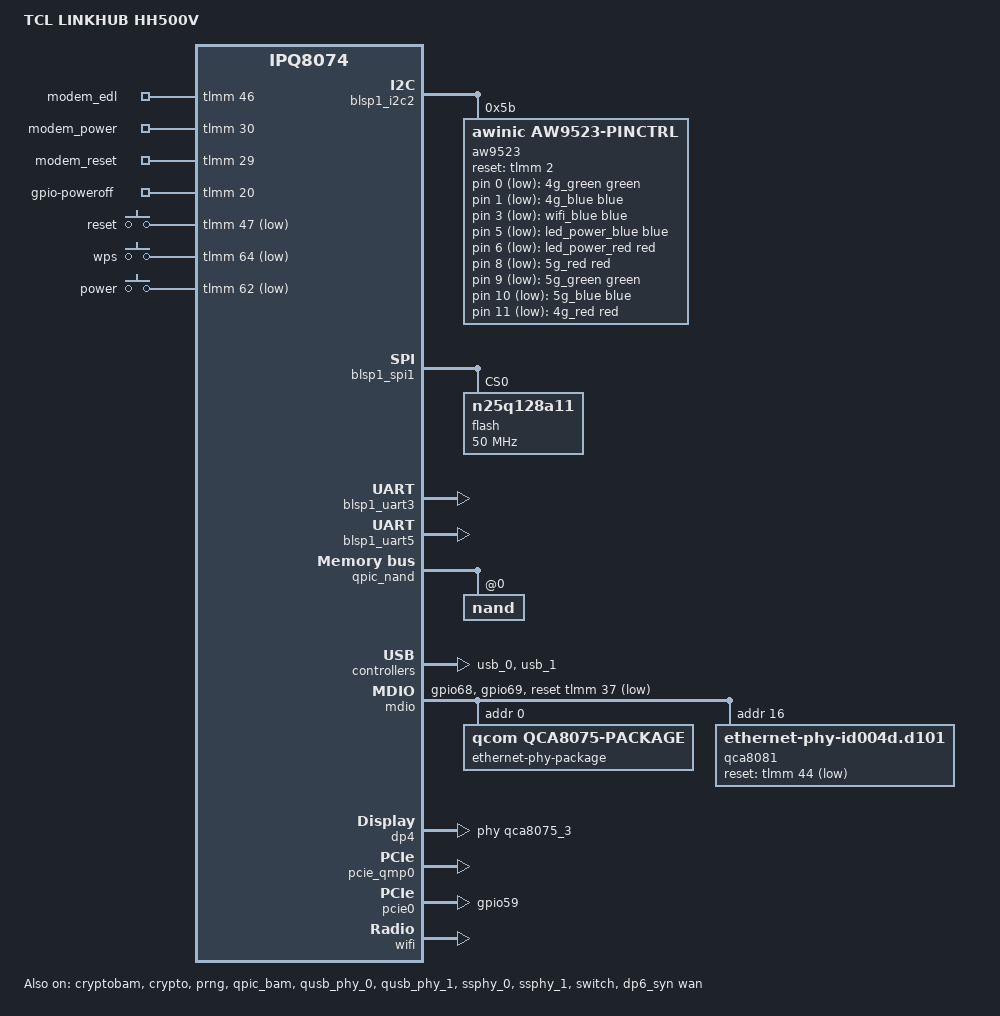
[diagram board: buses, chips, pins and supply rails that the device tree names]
// SPDX-License-Identifier: GPL-2.0-or-later OR MIT

/dts-v1/;

#include "ipq8074.dtsi"
#include "ipq8074-hk-cpu.dtsi"
#include "ipq8074-ess.dtsi"
#include <dt-bindings/gpio/gpio.h>
#include <dt-bindings/input/input.h>
#include <dt-bindings/leds/common.h>

/ {
	model = "TCL LINKHUB HH500V";
	compatible = "tcl,hh500v", "qcom,ipq8074";

	aliases {
		led-boot = &led_power_blue;
		led-failsafe = &led_power_red;
		led-running = &led_power_blue;
		led-upgrade = &led_power_red;
		serial0 = &blsp1_uart5;
		serial1 = &blsp1_uart3;
		ethernet3 = &dp4;
		ethernet5 = &dp6_syn;
	};

	chosen {
		stdout-path = "serial0:115200n8";
		bootargs-append = " root=/dev/ubiblock0_1";
	};

	modem {
		compatible = "gpio-export";
		pinctrl-names = "default";
		pinctrl-0 = <&modem_pins>;

		/* output low = download mode */
		modem-edl {
			gpio-export,name = "modem_edl";
			gpio-export,output = <1>;
			gpios = <&tlmm 46 GPIO_ACTIVE_HIGH>;
		};

		/* output high = power on, output low = no power on after reset */
		modem-power {
			gpio-export,name = "modem_power";
			gpio-export,output = <1>;
			gpios = <&tlmm 30 GPIO_ACTIVE_HIGH>;
		};

		/* output low 5s pulse = reset */
		modem-reset {
			gpio-export,name = "modem_reset";
			gpio-export,output = <1>;
			gpios = <&tlmm 29 GPIO_ACTIVE_HIGH>;
		};
	};

	gpio-poweroff {
		compatible = "gpio-poweroff";
		gpios = <&tlmm 20 GPIO_ACTIVE_HIGH>;
	};

	keys {
		compatible = "gpio-keys";
		pinctrl-0 = <&button_pins>;
		pinctrl-names = "default";

		reset {
			label = "reset";
			linux,code = <KEY_RESTART>;
			gpios = <&tlmm 47 GPIO_ACTIVE_LOW>;
		};

		wps {
			label = "wps";
			linux,code = <KEY_WPS_BUTTON>;
			gpios = <&tlmm 64 GPIO_ACTIVE_LOW>;
		};

		power {
			label = "power";
			gpios = <&tlmm 62 GPIO_ACTIVE_LOW>;
			linux,code = <KEY_POWER>;
		};
	};

	leds {
		compatible = "gpio-leds";
		pinctrl-names = "default";
		pinctrl-0 = <&led_pins>;

		4g_green {
			color = <LED_COLOR_ID_GREEN>;
			function = "4g";
			gpios = <&aw9523 0 GPIO_ACTIVE_LOW>;
		};

		4g_blue {
			color = <LED_COLOR_ID_BLUE>;
			function = "4g";
			gpios = <&aw9523 1 GPIO_ACTIVE_LOW>;
		};

		wifi_blue {
			color = <LED_COLOR_ID_BLUE>;
			function = LED_FUNCTION_WLAN;
			gpios = <&aw9523 3 GPIO_ACTIVE_LOW>;
		};

		led_power_blue: power_blue {
			color = <LED_COLOR_ID_BLUE>;
			function = LED_FUNCTION_POWER;
			gpios = <&aw9523 5 GPIO_ACTIVE_LOW>;
		};

		led_power_red: power_red {
			color = <LED_COLOR_ID_RED>;
			function = LED_FUNCTION_POWER;
			gpios = <&aw9523 6 GPIO_ACTIVE_LOW>;
		};

		5g_red {
			color = <LED_COLOR_ID_RED>;
			function = "5g";
			gpios = <&aw9523 8 GPIO_ACTIVE_LOW>;
		};

		5g_green {
			color = <LED_COLOR_ID_GREEN>;
			function = "5g";
			gpios = <&aw9523 9 GPIO_ACTIVE_LOW>;
		};

		5g_blue {
			color = <LED_COLOR_ID_BLUE>;
			function = "5g";
			gpios = <&aw9523 10 GPIO_ACTIVE_LOW>;
		};

		4g_red {
			color = <LED_COLOR_ID_RED>;
			function = "4g";
			gpios = <&aw9523 11 GPIO_ACTIVE_LOW>;
		};
	};
};

&tlmm {
	mdio_pins: mdio-pins {
		mdc {
			pins = "gpio68";
			function = "mdc";
			drive-strength = <8>;
			bias-pull-up;
		};

		mdio {
			pins = "gpio69";
			function = "mdio";
			drive-strength = <8>;
			bias-pull-up;
		};
	};

	button_pins: button-pins {
		bias-pull-up;
		drive-strength = <8>;
		function = "gpio";
		pins = "gpio47", "gpio62", "gpio64";
	};

	hsuart_pins: hsuart-state {
		pins = "gpio48", "gpio49";
	};

	modem_pins: modem-pins {
		modem_power_on {
			bias-pull-up;
			drive-strength = <8>;
			output-high;
			pins = "gpio30";
		};

		modem_reset {
			drive-strength = <8>;
			output-high;
			pins = "gpio29";
		};

		modem_edl {
			output-high;
			pins = "gpio46";
		};
	};

	pcie0_default_state: pcie0_wake_gpio {
			bias-pull-up;
			drive-strength = <8>;
			function = "pcie0_wake";
			pins = "gpio59";
	};
};

&blsp1_i2c2 {
	status = "okay";

	aw9523: gpio-expander@5b {
		compatible = "awinic,aw9523-pinctrl";
		reg = <0x5b>;
		gpio-controller;
		#gpio-cells = <2>;
		gpio-ranges = <&aw9523 0 0 16>;
		reset-gpios = <&tlmm 2 GPIO_ACTIVE_HIGH>;

		led_pins: led-pins {
			pins =
				"gpio0", "gpio1", "gpio3", "gpio5", "gpio6",
				"gpio8", "gpio9", "gpio10", "gpio11";
			function = "gpio";
			input-disable;
			output-low;
		};
	};
};

&blsp1_spi1 {
	status = "okay";

	flash@0 {
		#address-cells = <1>;
		#size-cells = <1>;
		reg = <0x00>;
		/* "n25q128a11" required for u-boot patching, see nand node */
		compatible = "n25q128a11", "jedec,spi-nor";
		spi-max-frequency = <50000000>;

		partitions {
			compatible = "fixed-partitions";
		};
	};
};

&blsp1_uart3 {
	status = "okay";
};

&blsp1_uart5 {
	status = "okay";
};

&cryptobam {
	status = "okay";
};

&crypto {
	status = "okay";
};

&prng {
	status = "okay";
};

&qpic_bam {
	status = "okay";
};

&qpic_nand {
	status = "okay";
	/*
	 * Some variants of this board use NOR+NAND configuration which is
	 * currently not supported by 'qcomsmem' MTD parser while other versions
	 * have NAND alone. Let U-Boot find the NAND and SPI flash dt nodes and
	 * populate partitions from SMEM partition table.
	 *
	 * This makes it possible to support both flash configurations with a
	 * single image, and also to use QCA 'runtime failsafe' and rotate
	 * 'rootfs'/'rootfs_1' partitions between subsequent updates.
	 */
	compatible = "qcom,ebi2-nandc-bam-v1.5.0", "qcom,ipq8074-nand";

	nand@0 {
		#address-cells = <0x01>;
		#size-cells = <0x01>;
		nand-bus-width = <8>;
		nand-ecc-step-size = <512>;
		nand-ecc-strength = <8>;
		reg = <0>;
	};
};

&qusb_phy_0 {
	status = "okay";
};

&qusb_phy_1 {
	status = "okay";
};

&ssphy_0 {
	status = "okay";
};

&ssphy_1 {
	status = "okay";
};

&usb_0 {
	status = "okay";
};

&usb_1 {
	status = "okay";
};

&mdio {
	status = "okay";

	pinctrl-0 = <&mdio_pins>;
	pinctrl-names = "default";
	reset-gpios = <&tlmm 37 GPIO_ACTIVE_LOW>;

	ethernet-phy-package@0 {
		compatible = "qcom,qca8075-package";
		#address-cells = <1>;
		#size-cells = <0>;
		reg = <0>;

		qca8075_3: ethernet-phy@3 {
			compatible = "ethernet-phy-ieee802.3-c22";
			reg = <3>;
		};
	};

	qca8081: ethernet-phy@16 {
		compatible = "ethernet-phy-id004d.d101";
		reg = <16>;
		reset-deassert-us = <10000>;
		reset-gpios = <&tlmm 44 GPIO_ACTIVE_LOW>;
	};
};

&switch {
	status = "okay";

	switch_lan_bmp = <ESS_PORT4>;
	switch_wan_bmp = <ESS_PORT6>;
	switch_mac_mode = <MAC_MODE_PSGMII>;
	switch_mac_mode2 = <MAC_MODE_SGMII_PLUS>;

	qcom,port_phyinfo {
			port@4 {
				phy_address = <3>;
				port_id = <4>;
			};

			port@6 {
				phy_address = <16>;
				port_id = <6>;
				port_mac_sel = "QGMAC_PORT";
			};
		};
};

&edma {
	status = "okay";
};

&dp4 {
	status = "okay";
	phy-handle = <&qca8075_3>;
	label = "lan";
};

&dp6_syn {
	status = "okay";
	phy-handle = <&qca8081>;
	label = "wan";
};

&pcie_qmp0 {
	status = "okay";
};

&pcie0 {
	status = "okay";
	pinctrl-0 = <&pcie0_default_state>;
	pinctrl-names = "default";
	perst-gpio = <&tlmm 58 GPIO_ACTIVE_LOW>;

	pcie@0 {
		modem@0,0 {
			reg = <0x00 0x00 0x00 0x00 0x00>;
		};
	};
};

&wifi {
	status = "okay";

	qcom,ath11k-calibration-variant = "TCL-HH500V";
};
